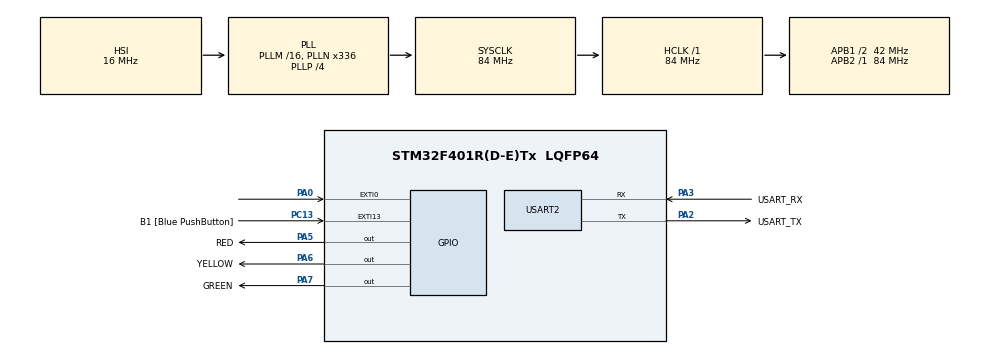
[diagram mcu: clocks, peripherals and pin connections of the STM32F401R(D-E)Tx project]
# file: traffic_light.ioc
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Mcu.Family=STM32F4
Mcu.Name=STM32F401R(D-E)Tx
Mcu.Package=LQFP64
NVIC.EXTI0_IRQn=true\:0\:0\:false\:false\:true\:true\:true\:true
NVIC.PriorityGroup=NVIC_PRIORITYGROUP_4
PA0-WKUP.GPIO_ModeDefaultEXTI=GPIO_MODE_IT_FALLING
PA0-WKUP.GPIO_PuPd=GPIO_PULLUP
PA0-WKUP.Signal=GPXTI0
PA13.GPIO_Label=TMS
PA13.Mode=Trace_Asynchronous_SW
PA13.Signal=SYS_JTMS-SWDIO
PA14.GPIO_Label=TCK
PA14.Mode=Trace_Asynchronous_SW
PA14.Signal=SYS_JTCK-SWCLK
PA2.GPIO_Label=USART_TX
PA2.GPIO_Mode=GPIO_MODE_AF_PP
PA2.GPIO_PuPd=GPIO_NOPULL
PA2.GPIO_Speed=GPIO_SPEED_FREQ_LOW
PA2.Mode=Asynchronous
PA2.Signal=USART2_TX
PA3.GPIO_Label=USART_RX
PA3.GPIO_Mode=GPIO_MODE_AF_PP
PA3.GPIO_PuPd=GPIO_NOPULL
PA3.GPIO_Speed=GPIO_SPEED_FREQ_LOW
PA3.Mode=Asynchronous
PA3.Signal=USART2_RX
PA5.GPIO_Label=RED
PA5.Signal=GPIO_Output
PA6.GPIO_Label=YELLOW
PA6.Signal=GPIO_Output
PA7.GPIO_Label=GREEN
PA7.Signal=GPIO_Output
PB3.GPIO_Label=SWO
PB3.Mode=Trace_Asynchronous_SW
PB3.Signal=SYS_JTDO-SWO
PC13-ANTI_TAMP.GPIO_Label=B1 [Blue PushButton]
PC13-ANTI_TAMP.GPIO_ModeDefaultEXTI=GPIO_MODE_IT_FALLING
PC13-ANTI_TAMP.GPIO_PuPd=GPIO_NOPULL
PC13-ANTI_TAMP.Signal=GPXTI13
PC14-OSC32_IN.Mode=LSE-External-Oscillator
PC14-OSC32_IN.Signal=RCC_OSC32_IN
PC15-OSC32_OUT.Mode=LSE-External-Oscillator
PC15-OSC32_OUT.Signal=RCC_OSC32_OUT
PH0\ -\ OSC_IN.Mode=HSE-External-Clock-Source
PH0\ -\ OSC_IN.Signal=RCC_OSC_IN
PH1\ -\ OSC_OUT.Mode=HSE-External-Clock-Source
PH1\ -\ OSC_OUT.Signal=RCC_OSC_OUT
ProjectManager.HeapSize=0x200
ProjectManager.StackSize=0x400
ProjectManager.TargetToolchain=STM32CubeIDE
RCC.48MHZClocksFreq_Value=48000000
RCC.AHBFreq_Value=84000000
RCC.APB1CLKDivider=RCC_HCLK_DIV2
RCC.APB1Freq_Value=42000000
RCC.APB1TimFreq_Value=84000000
RCC.APB2Freq_Value=84000000
RCC.APB2TimFreq_Value=84000000
RCC.CortexFreq_Value=84000000
RCC.HCLKFreq_Value=84000000
RCC.HSE_VALUE=8000000
RCC.HSI_VALUE=16000000
RCC.PLLN=336
RCC.PLLP=RCC_PLLP_DIV4
RCC.PLLQ=7
RCC.SYSCLKFreq_VALUE=84000000
RCC.SYSCLKSource=RCC_SYSCLKSOURCE_PLLCLK
RCC.VCOOutputFreq_Value=336000000
USART2.VirtualMode=VM_ASYNC
board=NUCLEO-F401RE

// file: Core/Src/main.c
/* USER CODE BEGIN Header */
/**
  ******************************************************************************
  * @file           : main.c
  * @brief          : Main program body
  ******************************************************************************
  * @attention
  *
  * Copyright (c) 2026 STMicroelectronics.
  * All rights reserved.
  *
  * This software is licensed under terms that can be found in the LICENSE file
  * in the root directory of this software component.
  * If no LICENSE file comes with this software, it is provided AS-IS.
  *
  ******************************************************************************
  */
/* USER CODE END Header */
#include "main.h"

UART_HandleTypeDef huart2;

void SystemClock_Config(void);
static void MX_GPIO_Init(void);
static void MX_USART2_UART_Init(void);

/* USER CODE BEGIN 0 */
typedef enum
{
	RED,
	YELLOW,
	GREEN
}TrafficState;

TrafficState current_state=RED;
TrafficState previous_state=YELLOW;

uint32_t stateStartTime=0;
volatile uint8_t buttonPressed=0;
volatile uint32_t lastButtonPressTime=0;

void HAL_GPIO_EXTI_Callback(uint16_t GPIO_Pin)
{
	if(GPIO_Pin==GPIO_PIN_0){
		uint32_t now=HAL_GetTick();
		if((now-lastButtonPressTime)>50){
			buttonPressed=1;
			lastButtonPressTime=now;
		}
	}
}
/* USER CODE END 0 */

int main(void)
{

  /* MCU Configuration--------------------------------------------------------*/

  /* Reset of all peripherals, Initializes the Flash interface and the Systick. */
  HAL_Init();

  /* Configure the system clock */
  SystemClock_Config();

  /* Initialize all configured peripherals */
  MX_GPIO_Init();
  MX_USART2_UART_Init();
  /* USER CODE BEGIN 2 */
  stateStartTime=HAL_GetTick();
  /* USER CODE END 2 */

  /* Infinite loop */
  while (1)
  {
	switch(current_state){

	case RED:
		HAL_GPIO_WritePin(GPIOA,GPIO_PIN_5,GPIO_PIN_SET);
		HAL_GPIO_WritePin(GPIOA,GPIO_PIN_6,GPIO_PIN_RESET);
		HAL_GPIO_WritePin(GPIOA,GPIO_PIN_7,GPIO_PIN_RESET);

		if((HAL_GetTick()-stateStartTime)>5000){
			current_state=YELLOW;
			previous_state=RED;
			stateStartTime=HAL_GetTick();
		}
		break;

	case YELLOW:
		HAL_GPIO_WritePin(GPIOA,GPIO_PIN_5,GPIO_PIN_RESET);
		HAL_GPIO_WritePin(GPIOA,GPIO_PIN_6,GPIO_PIN_SET);
		HAL_GPIO_WritePin(GPIOA,GPIO_PIN_7,GPIO_PIN_RESET);

		if((HAL_GetTick()-stateStartTime)>2000){
			if(previous_state==RED){
				current_state=GREEN;
			}
			else{
				current_state=RED;
			}
			previous_state=YELLOW;
			stateStartTime=HAL_GetTick();
		}
		break;

	case GREEN:
		HAL_GPIO_WritePin(GPIOA,GPIO_PIN_5,GPIO_PIN_RESET);
		HAL_GPIO_WritePin(GPIOA,GPIO_PIN_6,GPIO_PIN_RESET);
		HAL_GPIO_WritePin(GPIOA,GPIO_PIN_7,GPIO_PIN_SET);

		if(buttonPressed){
			buttonPressed=0;
			current_state=YELLOW;
			previous_state=GREEN;
			stateStartTime=HAL_GetTick();
		}

		else if((HAL_GetTick()-stateStartTime)>5000){
			current_state=YELLOW;
			previous_state=GREEN;
			stateStartTime=HAL_GetTick();
		}
		break;

	}
  }
}

void SystemClock_Config(void)
{
  RCC_OscInitTypeDef RCC_OscInitStruct = {0};
  RCC_ClkInitTypeDef RCC_ClkInitStruct = {0};

  /** Configure the main internal regulator output voltage
  */
  __HAL_RCC_PWR_CLK_ENABLE();
  __HAL_PWR_VOLTAGESCALING_CONFIG(PWR_REGULATOR_VOLTAGE_SCALE2);

  /** Initializes the RCC Oscillators according to the specified parameters
  * in the RCC_OscInitTypeDef structure.
  */
  RCC_OscInitStruct.OscillatorType = RCC_OSCILLATORTYPE_HSI;
  RCC_OscInitStruct.HSIState = RCC_HSI_ON;
  RCC_OscInitStruct.HSICalibrationValue = RCC_HSICALIBRATION_DEFAULT;
  RCC_OscInitStruct.PLL.PLLState = RCC_PLL_ON;
  RCC_OscInitStruct.PLL.PLLSource = RCC_PLLSOURCE_HSI;
  RCC_OscInitStruct.PLL.PLLM = 16;
  RCC_OscInitStruct.PLL.PLLN = 336;
  RCC_OscInitStruct.PLL.PLLP = RCC_PLLP_DIV4;
  RCC_OscInitStruct.PLL.PLLQ = 7;
  if (HAL_RCC_OscConfig(&RCC_OscInitStruct) != HAL_OK)
  {
    Error_Handler();
  }

  /** Initializes the CPU, AHB and APB buses clocks
  */
  RCC_ClkInitStruct.ClockType = RCC_CLOCKTYPE_HCLK|RCC_CLOCKTYPE_SYSCLK
                              |RCC_CLOCKTYPE_PCLK1|RCC_CLOCKTYPE_PCLK2;
  RCC_ClkInitStruct.SYSCLKSource = RCC_SYSCLKSOURCE_PLLCLK;
  RCC_ClkInitStruct.AHBCLKDivider = RCC_SYSCLK_DIV1;
  RCC_ClkInitStruct.APB1CLKDivider = RCC_HCLK_DIV2;
  RCC_ClkInitStruct.APB2CLKDivider = RCC_HCLK_DIV1;

  if (HAL_RCC_ClockConfig(&RCC_ClkInitStruct, FLASH_LATENCY_2) != HAL_OK)
  {
    Error_Handler();
  }
}

static void MX_USART2_UART_Init(void)
{

  huart2.Instance = USART2;
  huart2.Init.BaudRate = 115200;
  huart2.Init.WordLength = UART_WORDLENGTH_8B;
  huart2.Init.StopBits = UART_STOPBITS_1;
  huart2.Init.Parity = UART_PARITY_NONE;
  huart2.Init.Mode = UART_MODE_TX_RX;
  huart2.Init.HwFlowCtl = UART_HWCONTROL_NONE;
  huart2.Init.OverSampling = UART_OVERSAMPLING_16;
  if (HAL_UART_Init(&huart2) != HAL_OK)
  {
    Error_Handler();
  }

}

static void MX_GPIO_Init(void)
{
  GPIO_InitTypeDef GPIO_InitStruct = {0};

  /* GPIO Ports Clock Enable */
  __HAL_RCC_GPIOC_CLK_ENABLE();
  __HAL_RCC_GPIOH_CLK_ENABLE();
  __HAL_RCC_GPIOA_CLK_ENABLE();
  __HAL_RCC_GPIOB_CLK_ENABLE();

  /*Configure GPIO pin Output Level */
  HAL_GPIO_WritePin(GPIOA, RED_Pin|YELLOW_Pin|GREEN_Pin, GPIO_PIN_RESET);

  /*Configure GPIO pin : B1_Pin */
  GPIO_InitStruct.Pin = B1_Pin;
  GPIO_InitStruct.Mode = GPIO_MODE_IT_FALLING;
  GPIO_InitStruct.Pull = GPIO_NOPULL;
  HAL_GPIO_Init(B1_GPIO_Port, &GPIO_InitStruct);

  /*Configure GPIO pin : PA0 */
  GPIO_InitStruct.Pin = GPIO_PIN_0;
  GPIO_InitStruct.Mode = GPIO_MODE_IT_FALLING;
  GPIO_InitStruct.Pull = GPIO_PULLUP;
  HAL_GPIO_Init(GPIOA, &GPIO_InitStruct);

  /*Configure GPIO pins : RED_Pin YELLOW_Pin GREEN_Pin */
  GPIO_InitStruct.Pin = RED_Pin|YELLOW_Pin|GREEN_Pin;
  GPIO_InitStruct.Mode = GPIO_MODE_OUTPUT_PP;
  GPIO_InitStruct.Pull = GPIO_NOPULL;
  GPIO_InitStruct.Speed = GPIO_SPEED_FREQ_LOW;
  HAL_GPIO_Init(GPIOA, &GPIO_InitStruct);

  /* EXTI interrupt init*/
  HAL_NVIC_SetPriority(EXTI0_IRQn, 0, 0);
  HAL_NVIC_EnableIRQ(EXTI0_IRQn);

}

void Error_Handler(void)
{
  __disable_irq();
  while (1)
  {
  }
}
